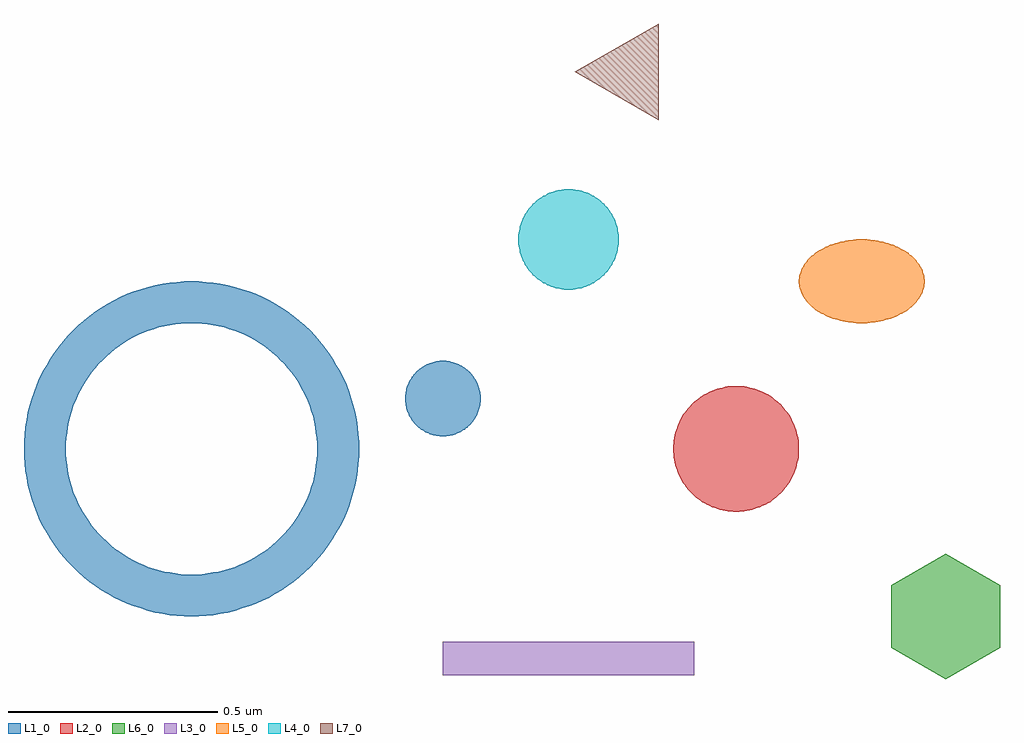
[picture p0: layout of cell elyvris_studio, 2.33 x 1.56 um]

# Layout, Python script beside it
# Elyvris Studio: gdsfactory layout, seen from above. Units: micrometres.
# Layers: (1, 0) Si | (2, 0) TiO2 | (3, 0) Au | (4, 0) Al | (5, 0) MgF2 | (6, 0) my_glass n=1.9 | (7, 0) BK7
import gdsfactory as gf

gf.gpdk.PDK.activate()
c = gf.Component(name="elyvris_studio")

# s1: box with an infinite size is not a layout shape (skipped)
s2 = c.add_ref(gf.components.circle(radius=0.09, layer=(1, 0)))  # sphere h=180nm z=90nm
s2.move((-0.3, 0.12))
s3 = c.add_ref(gf.components.circle(radius=0.15, layer=(2, 0)))  # cylinder h=200nm z=100nm
s3.move((0.4, 0))
c.add_polygon([(-0.3, -0.54), (0.3, -0.54), (0.3, -0.46), (-0.3, -0.46)], layer=(3, 0))  # cylinder h=80nm z=40nm
s5 = c.add_ref(gf.components.circle(radius=0.12, layer=(4, 0)))  # cone h=250nm z=125nm r2=30nm
s5.move((0, 0.5))
s6 = c.add_ref(gf.components.ellipse(radii=(0.15, 0.1), layer=(5, 0)))  # ellipsoid h=150nm z=75nm
s6.move((0.7, 0.4))
s7 = c.add_ref(gf.components.ring(radius=0.35, width=0.1, layer=(1, 0)))  # ring h=150nm z=75nm
s7.move((-0.9, 0))
c.add_polygon([(0.9, -0.25), (0.7700961894, -0.325), (0.7700961894, -0.475), (0.9, -0.55), (1.029903811, -0.475), (1.029903811, -0.325)], layer=(6, 0))  # prism h=120nm z=60nm
c.add_polygon([(0.015, 0.9), (0.215, 0.785), (0.215, 1.015)], layer=(7, 0))  # prism h=40nm z=20nm

c.write_gds("elyvris_studio.gds")  # open this file in KLayout
